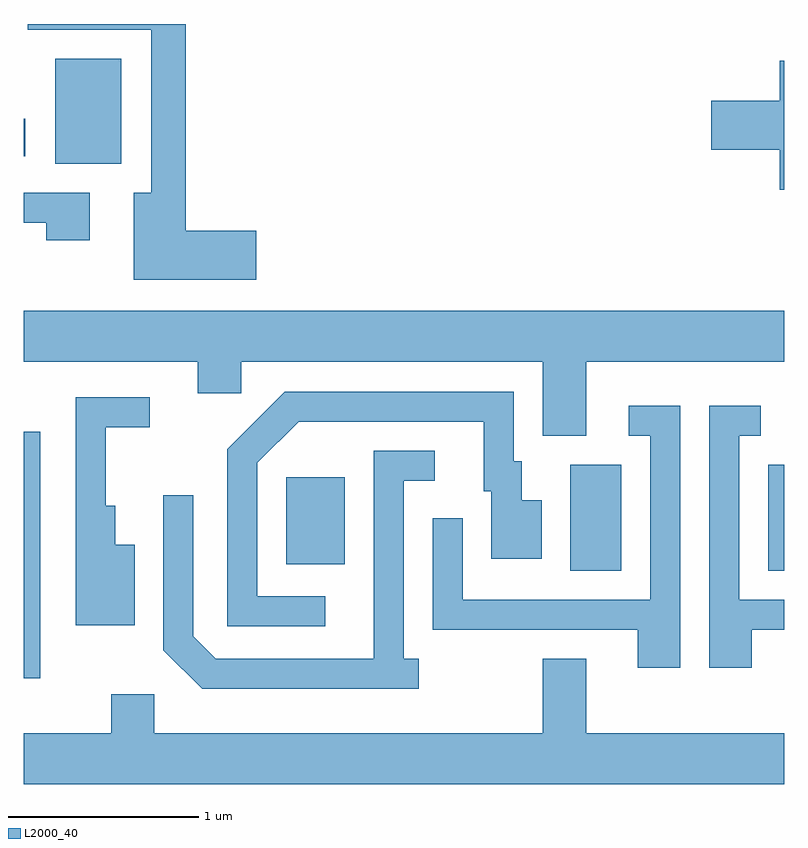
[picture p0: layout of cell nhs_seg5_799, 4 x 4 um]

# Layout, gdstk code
import gdstk
lib = gdstk.Library(unit=1e-6, precision=1e-09)
def R(c, l, rs):  # rectangles x0, y0, x1, y1
    for r in rs: c.add(gdstk.rectangle(r[:2], r[2:], *l))
def P(c, l, *ps):  # polygons
    for p in ps: c.add(gdstk.Polygon(p, *l))
L2000_40 = (2000, 40)

nhs_seg5_799 = lib.new_cell('nhs_seg5_799')
R(nhs_seg5_799, L2000_40, [(207.611,1510.631,207.699,1511.929), (210.486,1511.196,210.754,1511.754), (211.526,1511.196,211.611,1511.754), (208.991,1511.231,209.299,1511.689), (207.776,1513.336,208.124,1513.889), (207.611,1513.376,207.619,1513.574)])
P(nhs_seg5_799, L2000_40, [(208.834,1512.984),(208.464,1512.984),(208.464,1514.072),(207.633,1514.072),(207.633,1514.041),(208.281,1514.041),(208.281,1513.184),(208.191,1513.184),(208.191,1512.726),(208.834,1512.726)],
  [(211.611,1513.879),(211.586,1513.879),(211.586,1513.669),(211.226,1513.669),(211.226,1513.411),(211.586,1513.411),(211.586,1513.201),(211.611,1513.201)],
  [(207.959,1513.184),(207.611,1513.184),(207.611,1513.026),(207.731,1513.026),(207.731,1512.936),(207.959,1512.936)],
  [(210.569,1512.296),(211.611,1512.296),(211.611,1512.564),(207.611,1512.564),(207.611,1512.296),(208.526,1512.296),(208.526,1512.131),(208.754,1512.131),(208.754,1512.296),(210.341,1512.296),(210.341,1511.906),(210.569,1511.906)],
  [(209.198,1511.064),(208.839,1511.064),(208.839,1511.764),(209.057,1511.981),(210.031,1511.981),(210.031,1511.616),(210.071,1511.616),(210.071,1511.261),(210.334,1511.261),(210.334,1511.569),(210.229,1511.569),(210.229,1511.774),(210.189,1511.774),(210.189,1512.139),(208.984,1512.139),(208.681,1511.837),(208.681,1510.906),(209.198,1510.906)],
  [(208.194,1511.334),(208.094,1511.334),(208.094,1511.539),(208.044,1511.539),(208.044,1511.951),(208.273,1511.951),(208.273,1512.109),(207.886,1512.109),(207.886,1510.911),(208.194,1510.911)],
  [(211.439,1510.886),(211.611,1510.886),(211.611,1511.044),(211.374,1511.044),(211.374,1511.906),(211.488,1511.906),(211.488,1512.064),(211.216,1512.064),(211.216,1510.686),(211.439,1510.686)],
  [(211.064,1512.064),(210.793,1512.064),(210.793,1511.906),(210.906,1511.906),(210.906,1511.044),(209.919,1511.044),(209.919,1511.473),(209.761,1511.473),(209.761,1510.886),(210.841,1510.886),(210.841,1510.686),(211.064,1510.686)],
  [(209.688,1510.734),(209.609,1510.734),(209.609,1511.671),(209.773,1511.671),(209.773,1511.829),(209.451,1511.829),(209.451,1510.734),(208.622,1510.734),(208.504,1510.852),(208.504,1511.593),(208.346,1511.593),(208.346,1510.779),(208.549,1510.576),(209.688,1510.576)],
  [(211.611,1510.344),(210.569,1510.344),(210.569,1510.734),(210.341,1510.734),(210.341,1510.344),(208.299,1510.344),(208.299,1510.549),(208.071,1510.549),(208.071,1510.344),(207.611,1510.344),(207.611,1510.076),(211.611,1510.076)])

lib.write_gds('nhs_seg5_799.gds')
